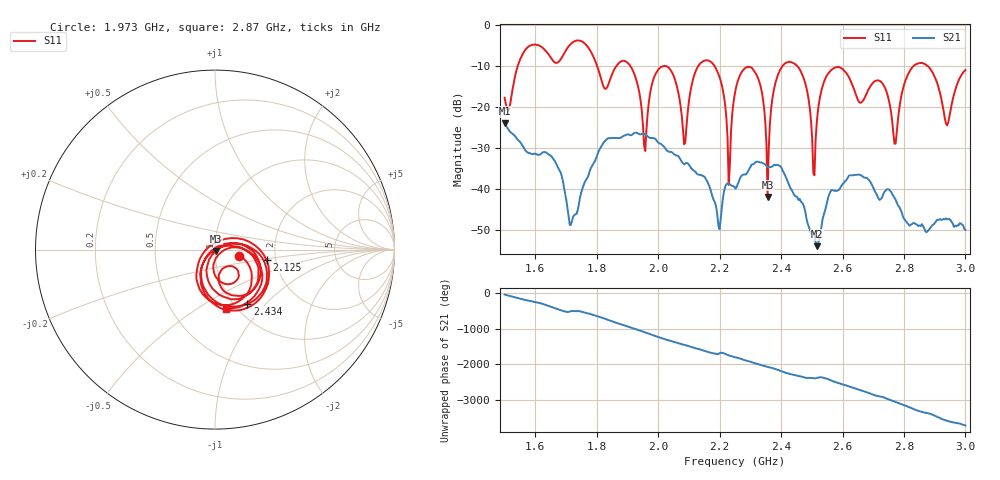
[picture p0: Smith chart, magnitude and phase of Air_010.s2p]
# HZ S RI R 50
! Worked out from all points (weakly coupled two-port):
!   404 points, 1.5 GHz to 3 GHz, reference 50 ohm
!   highest |S21| = -24.00 dB at 1.5 GHz (marker M1); lowest = -54.0 dB at 2.516 GHz (marker M2)
!   lowest |S11| = -42.0 dB at 2.356 GHz (marker M3), VSWR 1.02, Z = 50.3 - j0.72 ohm
!   |S11| at or under -10 dB: 2.184 GHz to 2.404 GHz (220.5 MHz wide, 9.61 % of centre); 2.453 GHz to 2.831 GHz (377.5 MHz wide, 14.3 % of centre); 2.878 GHz to end of sweep (the widest 3 of 7)
!   S12 and S22 are empty: the file has one direction only
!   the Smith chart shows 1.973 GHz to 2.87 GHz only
!   S11 on the Smith chart (normalised r, x): 1.973 GHz: 1.31, -0.09; 2.125 GHz: 1.79, -0.23; 2.434 GHz: 1.15, -0.79; 2.87 GHz: 0.89, -0.66
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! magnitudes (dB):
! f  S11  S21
! 1.5 GHz  -17.7  -24.0
! 1.716 GHz  -4.5  -48.8
! 1.753 GHz  -4.0  -40.0
! 1.954 GHz  -29.3  -26.5
! 1.973 GHz  -17.1  -27.5
! 2.002 GHz  -10.6  -28.8
! 2.084 GHz  -29.1  -34.0
! 2.125 GHz  -10.6  -36.3
! 2.192 GHz  -11.3  -46.3
! 2.23 GHz  -39.0  -38.7
! 2.252 GHz  -15.8  -40.0
! 2.315 GHz  -11.5  -33.6
! 2.356 GHz  -42.0  -34.7
! 2.434 GHz  -9.0  -40.3
! 2.501 GHz  -27.7  -50.6
! 2.516 GHz  -23.8  -54.0
! 2.576 GHz  -10.3  -40.5
! 2.751 GHz  -18.2  -40.2
! 2.773 GHz  -28.9  -42.7
! 2.87 GHz  -9.5  -50.4
! 2.94 GHz  -24.5  -47.5
! 3 GHz  -10.9  -50.0
